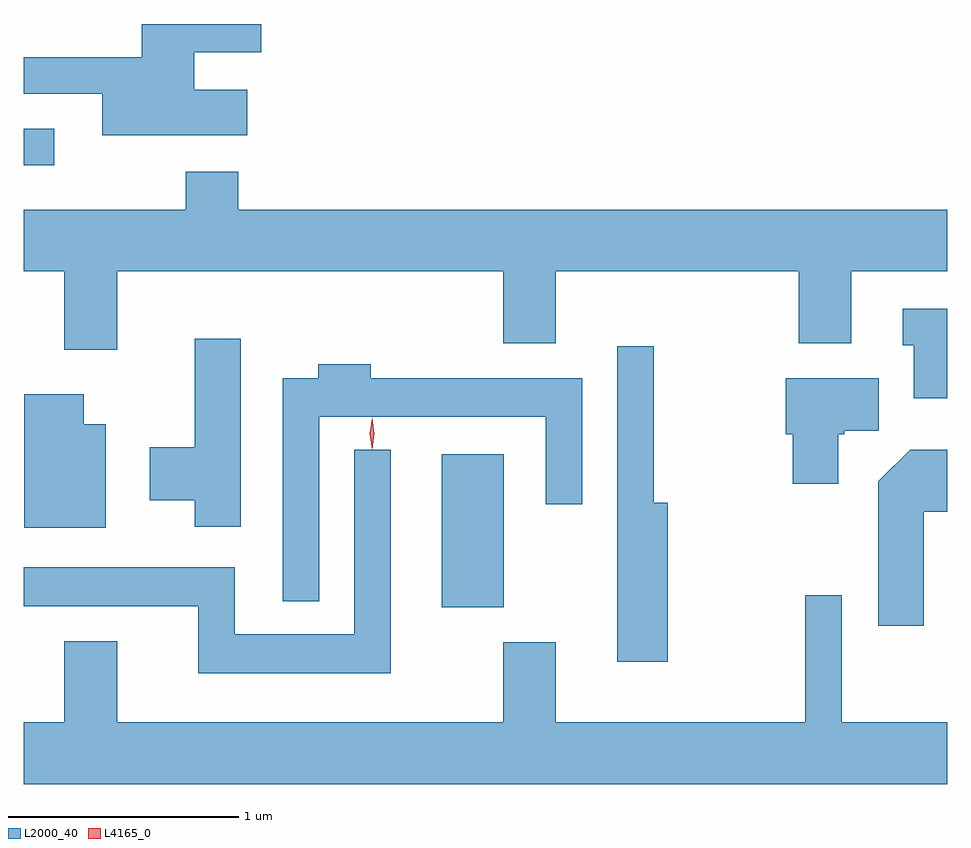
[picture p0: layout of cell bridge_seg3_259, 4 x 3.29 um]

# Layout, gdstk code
import gdstk
lib = gdstk.Library(unit=1e-6, precision=1e-09)
def R(c, l, rs):  # rectangles x0, y0, x1, y1
    for r in rs: c.add(gdstk.rectangle(r[:2], r[2:], *l))
def P(c, l, *ps):  # polygons
    for p in ps: c.add(gdstk.Polygon(p, *l))
L2000_40 = (2000, 40)
L4165_0 = (4165, 0)

bridge_seg3_259 = lib.new_cell('bridge_seg3_259')
R(bridge_seg3_259, L2000_40, [(1077.356,1129.001,1077.624,1129.664), (1075.545,1130.916,1075.678,1131.074)])
P(bridge_seg3_259, L2000_40, [(1076.514,1131.244),(1076.284,1131.244),(1076.284,1131.406),(1076.573,1131.406),(1076.573,1131.528),(1076.056,1131.528),(1076.056,1131.384),(1075.545,1131.384),(1075.545,1131.226),(1075.886,1131.226),(1075.886,1131.046),(1076.514,1131.046)],
  [(1076.474,1130.889),(1076.246,1130.889),(1076.246,1130.724),(1075.545,1130.724),(1075.545,1130.456),(1075.721,1130.456),(1075.721,1130.116),(1075.949,1130.116),(1075.949,1130.456),(1077.621,1130.456),(1077.621,1130.146),(1077.849,1130.146),(1077.849,1130.456),(1078.901,1130.456),(1078.901,1130.146),(1079.129,1130.146),(1079.129,1130.456),(1079.545,1130.456),(1079.545,1130.724),(1076.474,1130.724)],
  [(1079.545,1130.294),(1079.353,1130.294),(1079.353,1130.136),(1079.401,1130.136),(1079.401,1129.906),(1079.545,1129.906)],
  [(1076.484,1130.164),(1076.286,1130.164),(1076.286,1129.694),(1076.091,1129.694),(1076.091,1129.466),(1076.286,1129.466),(1076.286,1129.351),(1076.484,1129.351)],
  [(1078.334,1129.454),(1078.274,1129.454),(1078.274,1130.133),(1078.116,1130.133),(1078.116,1128.766),(1078.334,1128.766)],
  [(1076.824,1129.826),(1077.806,1129.826),(1077.806,1129.448),(1077.964,1129.448),(1077.964,1129.994),(1077.049,1129.994),(1077.049,1130.054),(1076.821,1130.054),(1076.821,1129.994),(1076.666,1129.994),(1076.666,1129.028),(1076.824,1129.028)],
  [(1079.074,1129.751),(1079.1,1129.751),(1079.1,1129.766),(1079.249,1129.766),(1079.249,1129.994),(1078.846,1129.994),(1078.846,1129.751),(1078.876,1129.751),(1078.876,1129.536),(1079.074,1129.536)],
  [(1075.899,1129.794),(1075.804,1129.794),(1075.804,1129.924),(1075.546,1129.924),(1075.546,1129.346),(1075.899,1129.346)],
  [(1079.444,1129.416),(1079.545,1129.416),(1079.545,1129.684),(1079.384,1129.684),(1079.246,1129.547),(1079.246,1128.921),(1079.444,1128.921)],
  [(1077.134,1129.683),(1076.976,1129.683),(1076.976,1128.884),(1076.459,1128.884),(1076.459,1129.174),(1075.545,1129.174),(1075.545,1129.006),(1076.301,1129.006),(1076.301,1128.716),(1077.134,1128.716)],
  [(1079.545,1128.504),(1079.089,1128.504),(1079.089,1129.053),(1078.931,1129.053),(1078.931,1128.504),(1077.849,1128.504),(1077.849,1128.849),(1077.621,1128.849),(1077.621,1128.504),(1075.949,1128.504),(1075.949,1128.854),(1075.721,1128.854),(1075.721,1128.504),(1075.545,1128.504),(1075.545,1128.236),(1079.545,1128.236)])
P(bridge_seg3_259, L4165_0, [(1077.054,1129.684),(1077.054,1129.684),(1077.044,1129.753),(1077.054,1129.822),(1077.054,1129.823),(1077.055,1129.822),(1077.064,1129.753),(1077.055,1129.684)])

lib.write_gds('bridge_seg3_259.gds')
